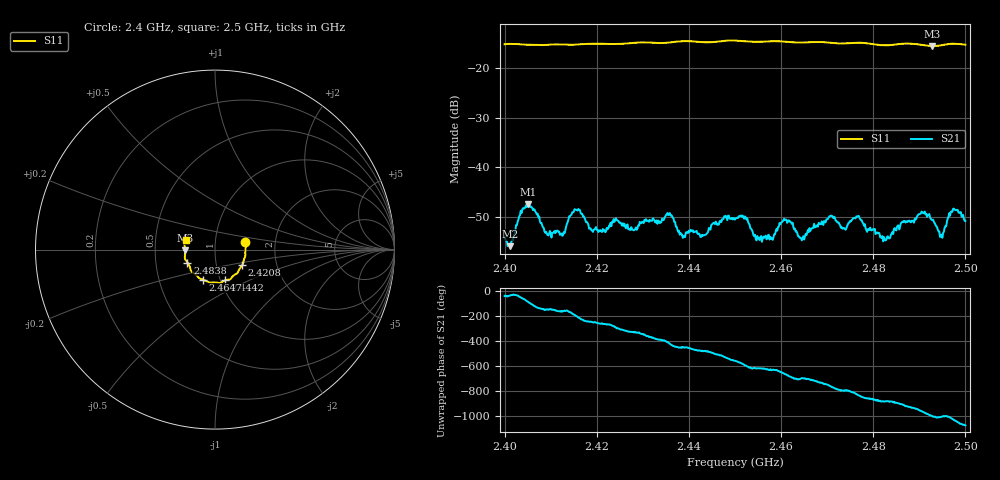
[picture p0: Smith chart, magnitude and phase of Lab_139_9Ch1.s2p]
# Hz S RI R 50
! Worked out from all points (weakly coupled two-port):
!   601 points, 2.4 GHz to 2.5 GHz, reference 50 ohm
!   highest |S21| = -47.45 dB at 2.405 GHz (marker M1); lowest = -55.9 dB at 2.4012 GHz (marker M2)
!   lowest |S11| = -15.6 dB at 2.4928 GHz (marker M3), VSWR 1.40, Z = 35.8 - j0.36 ohm
!   |S11| at or under -10 dB: start of sweep to end of sweep
!   S12 and S22 are empty: the file has one direction only
!   S11 on the Smith chart (normalised r, x): 2.4 GHz: 1.40, +0.12; 2.4208 GHz: 1.33, -0.24; 2.4442 GHz: 1.05, -0.37; 2.4647 GHz: 0.83, -0.29; 2.4838 GHz: 0.73, -0.11; 2.5 GHz: 0.72, +0.08
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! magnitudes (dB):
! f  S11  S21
! 2.4 GHz  -15.3  -54.2
! 2.4012 GHz  -15.2  -55.9
! 2.405 GHz  -15.4  -47.5
! 2.4097 GHz  -15.4  -53.3
! 2.4167 GHz  -15.2  -49.4
! 2.4208 GHz  -15.2  -52.6
! 2.4333 GHz  -15.0  -50.7
! 2.4357 GHz  -14.9  -49.4
! 2.4442 GHz  -14.9  -53.0
! 2.45 GHz  -14.5  -50.5
! 2.455 GHz  -14.8  -54.3
! 2.4607 GHz  -14.7  -50.3
! 2.4647 GHz  -14.9  -54.3
! 2.4667 GHz  -14.8  -52.3
! 2.4765 GHz  -15.0  -49.9
! 2.4833 GHz  -15.4  -54.3
! 2.4838 GHz  -15.4  -53.5
! 2.4902 GHz  -15.3  -49.4
! 2.4928 GHz  -15.6  -50.6
! 2.4948 GHz  -15.4  -53.5
! 2.4973 GHz  -15.1  -48.3
! 2.5 GHz  -15.3  -50.8
